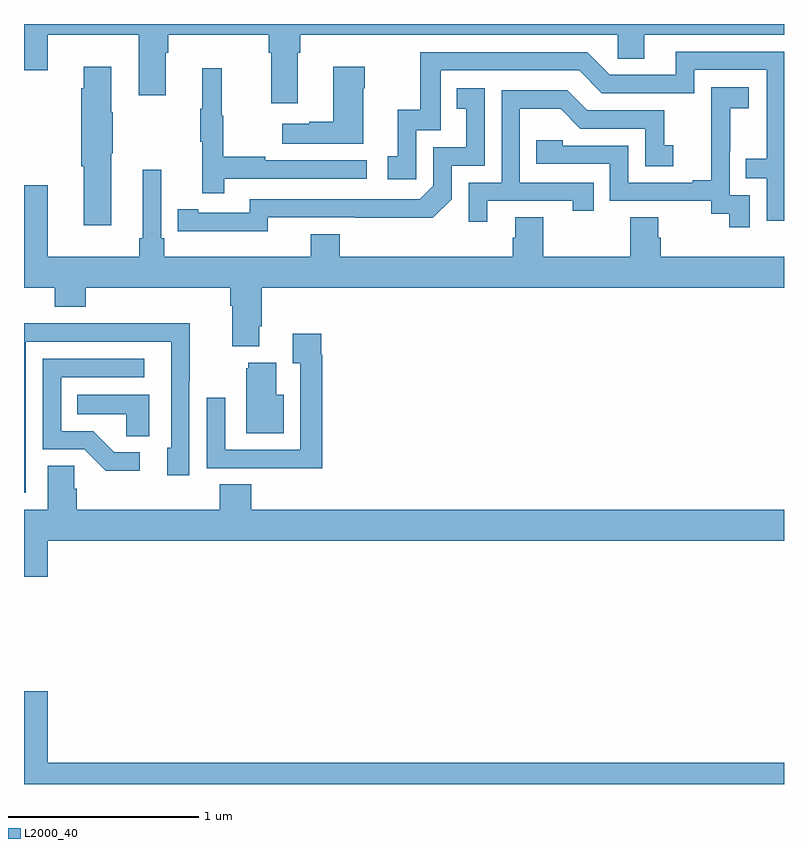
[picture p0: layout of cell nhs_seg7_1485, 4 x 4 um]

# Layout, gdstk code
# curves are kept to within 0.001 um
import gdstk
lib = gdstk.Library(unit=1e-6, precision=1e-09)
def P(c, l, *ps):  # polygons
    for p in ps: c.add(gdstk.Polygon(p, *l))
L2000_40 = (2000, 40)

nhs_seg7_1485 = lib.new_cell('nhs_seg7_1485')
P(nhs_seg7_1485, L2000_40, [(214.441,1005.848),(214.454,1005.848),(214.454,1005.944),(216.126,1005.944),(216.126,1005.817),(216.265,1005.817),(216.265,1005.944),(217,1005.944),(217,1006),(213,1006),(213,1005.756),(213.124,1005.756),(213.124,1005.944),(213.605,1005.944),(213.605,1005.624),(213.745,1005.624),(213.745,1005.848),(213.758,1005.848),(213.758,1005.944),(214.289,1005.944),(214.289,1005.848),(214.301,1005.848),(214.301,1005.582),(214.441,1005.582)],
  [(217,1005.855),(216.431,1005.855),(216.431,1005.732),(216.084,1005.732),(215.964,1005.852),(215.085,1005.852),(215.085,1005.55),(214.967,1005.55),(214.967,1005.303),(214.914,1005.303),(214.914,1005.183),(215.064,1005.183),(215.064,1005.441),(215.193,1005.441),(215.193,1005.756),(215.922,1005.756),(216.042,1005.636),(216.528,1005.636),(216.528,1005.759),(216.909,1005.759),(216.909,1005.29),(216.799,1005.29),(216.799,1005.189),(216.909,1005.189),(216.909,1004.964),(217,1004.964)],
  [(214.786,1005.662),(214.794,1005.662),(214.794,1005.775),(214.628,1005.775),(214.628,1005.485),(214.502,1005.485),(214.502,1005.475),(214.359,1005.475),(214.359,1005.371),(214.786,1005.371)],
  [(213.46,1005.319),(213.468,1005.319),(213.468,1005.536),(213.46,1005.536),(213.46,1005.775),(213.314,1005.775),(213.314,1005.662),(213.302,1005.662),(213.302,1005.252),(213.314,1005.252),(213.314,1004.94),(213.46,1004.94)],
  [(214.055,1005.186),(214.804,1005.186),(214.804,1005.282),(214.271,1005.282),(214.271,1005.302),(214.048,1005.302),(214.048,1005.516),(214.04,1005.516),(214.04,1005.766),(213.938,1005.766),(213.938,1005.553),(213.927,1005.553),(213.927,1005.379),(213.938,1005.379),(213.938,1005.108),(214.055,1005.108)],
  [(216.819,1005.099),(216.714,1005.099),(216.714,1005.329),(216.716,1005.329),(216.716,1005.557),(216.814,1005.557),(216.814,1005.667),(216.616,1005.667),(216.616,1005.461),(216.617,1005.461),(216.617,1005.178),(216.521,1005.178),(216.521,1005.165),(216.18,1005.165),(216.18,1005.36),(215.835,1005.36),(215.835,1005.387),(215.695,1005.387),(215.695,1005.264),(216.084,1005.264),(216.084,1005.069),(216.618,1005.069),(216.618,1005.001),(216.711,1005.001),(216.711,1004.931),(216.819,1004.931)],
  [(214.284,1004.982),(215.152,1004.981),(215.25,1005.078),(215.25,1005.255),(215.424,1005.255),(215.424,1005.661),(215.278,1005.661),(215.278,1005.555),(215.327,1005.555),(215.327,1005.351),(215.154,1005.351),(215.154,1005.15),(215.082,1005.078),(214.188,1005.078),(214.188,1005.006),(213.916,1005.006),(213.916,1005.026),(213.808,1005.026),(213.808,1004.91),(214.284,1004.909)],
  [(215.437,1005.069),(215.888,1005.069),(215.888,1005.018),(215.999,1005.018),(215.999,1005.165),(215.61,1005.165),(215.61,1005.554),(215.824,1005.554),(215.928,1005.45),(216.27,1005.45),(216.27,1005.252),(216.418,1005.252),(216.418,1005.361),(216.369,1005.361),(216.369,1005.546),(215.965,1005.546),(215.86,1005.651),(215.514,1005.651),(215.514,1005.165),(215.34,1005.165),(215.34,1004.958),(215.437,1004.958)],
  [(214.237,1004.41),(214.25,1004.41),(214.25,1004.612),(217,1004.612),(217,1004.776),(216.35,1004.776),(216.35,1004.874),(216.337,1004.874),(216.337,1004.984),(216.19,1004.984),(216.19,1004.776),(215.733,1004.776),(215.733,1004.984),(215.585,1004.984),(215.585,1004.874),(215.573,1004.874),(215.573,1004.776),(214.661,1004.776),(214.661,1004.893),(214.508,1004.893),(214.508,1004.776),(213.737,1004.776),(213.737,1004.872),(213.723,1004.872),(213.723,1005.232),(213.626,1005.232),(213.626,1004.872),(213.607,1004.872),(213.607,1004.776),(213.124,1004.776),(213.124,1005.151),(213,1005.151),(213,1004.612),(213.161,1004.612),(213.161,1004.513),(213.326,1004.513),(213.326,1004.612),(214.085,1004.612),(214.085,1004.516),(214.097,1004.516),(214.097,1004.303),(214.237,1004.303)],
  [(213.009,1004.328),(213.774,1004.328),(213.774,1003.77),(213.755,1003.77),(213.755,1003.626),(213.87,1003.626),(213.87,1004.119),(213.873,1004.119),(213.873,1004.426),(213.409,1004.426),(213.409,1004.424),(213,1004.424),(213,1003.533),(213.009,1003.533)],
  [(214.571,1004.258),(214.564,1004.258),(214.564,1004.371),(214.415,1004.371),(214.415,1004.215),(214.455,1004.215),(214.455,1003.758),(214.059,1003.758),(214.059,1004.032),(213.963,1004.032),(213.963,1003.662),(214.279,1003.662),(214.279,1003.661),(214.571,1003.661)],
  [(213.61,1003.746),(213.475,1003.746),(213.364,1003.857),(213.195,1003.857),(213.195,1004.142),(213.634,1004.142),(213.634,1004.238),(213.099,1004.238),(213.099,1003.761),(213.318,1003.761),(213.431,1003.649),(213.61,1003.649)],
  [(214.366,1004.05),(214.327,1004.05),(214.327,1004.218),(214.181,1004.218),(214.181,1004.187),(214.169,1004.187),(214.169,1003.847),(214.366,1003.847)],
  [(213.658,1004.05),(213.28,1004.05),(213.28,1003.946),(213.537,1003.946),(213.537,1003.831),(213.658,1003.831)],
  [(213.124,1003.28),(217,1003.28),(217,1003.444),(214.196,1003.444),(214.196,1003.577),(214.031,1003.577),(214.031,1003.444),(213.278,1003.444),(213.278,1003.553),(213.264,1003.553),(213.264,1003.676),(213.125,1003.676),(213.125,1003.444),(213,1003.444),(213,1003.092),(213.124,1003.092)],
  [(217,1002.112),(213.124,1002.112),(213.124,1002.487),(213,1002.487),(213,1002),(217,1002)])

lib.write_gds('nhs_seg7_1485.gds')
